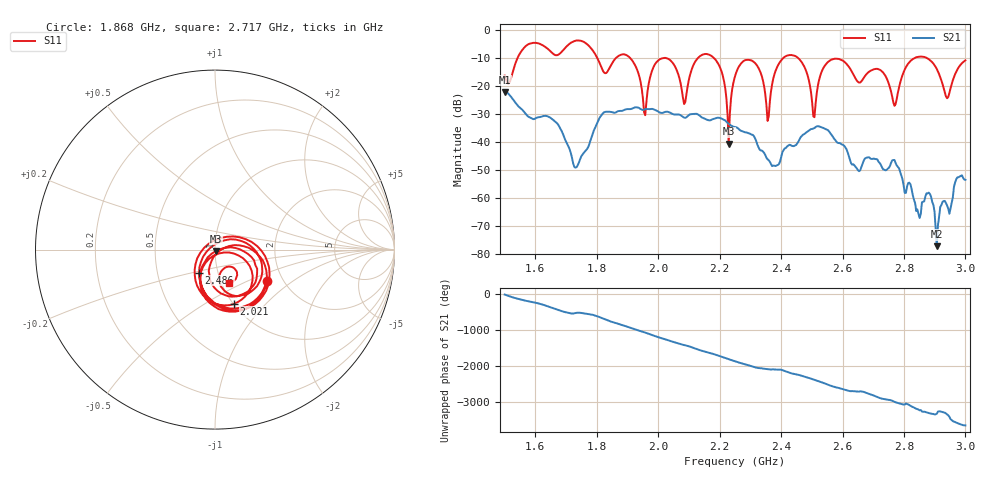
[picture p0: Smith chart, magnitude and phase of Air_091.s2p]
# HZ S RI R 50
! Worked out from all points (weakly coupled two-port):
!   404 points, 1.5 GHz to 3 GHz, reference 50 ohm
!   highest |S21| = -22.05 dB at 1.5 GHz (marker M1); lowest = -77.4 dB at 2.907 GHz (marker M2)
!   lowest |S11| = -40.7 dB at 2.23 GHz (marker M3), VSWR 1.02, Z = 50.6 - j0.72 ohm
!   |S11| at or under -10 dB: 2.182 GHz to 2.406 GHz (224.5 MHz wide, 9.79 % of centre); 2.456 GHz to 2.834 GHz (378 MHz wide, 14.3 % of centre); 2.875 GHz to end of sweep (the widest 3 of 7)
!   S12 and S22 are empty: the file has one direction only
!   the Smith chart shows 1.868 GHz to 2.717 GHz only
!   S11 on the Smith chart (normalised r, x): 1.868 GHz: 1.66, -0.66; 2.021 GHz: 1.00, -0.68; 2.486 GHz: 0.81, -0.21; 2.717 GHz: 1.09, -0.42
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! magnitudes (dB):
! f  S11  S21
! 1.5 GHz  -16.2  -22.1
! 1.578 GHz  -5.0  -31.0
! 1.753 GHz  -3.9  -44.6
! 1.868 GHz  -9.4  -29.0
! 1.958 GHz  -30.4  -28.3
! 2.002 GHz  -10.6  -29.3
! 2.021 GHz  -9.9  -29.3
! 2.084 GHz  -26.4  -31.3
! 2.177 GHz  -9.5  -31.9
! 2.23 GHz  -40.7  -33.5
! 2.252 GHz  -15.8  -34.7
! 2.315 GHz  -11.7  -38.7
! 2.356 GHz  -32.5  -46.2
! 2.378 GHz  -15.8  -48.5
! 2.486 GHz  -16.2  -36.3
! 2.501 GHz  -26.0  -35.4
! 2.561 GHz  -10.7  -37.0
! 2.717 GHz  -13.9  -47.1
! 2.751 GHz  -19.1  -49.3
! 2.907 GHz  -13.9  -77.4
! 2.94 GHz  -24.4  -62.8
! 3 GHz  -10.8  -53.6
